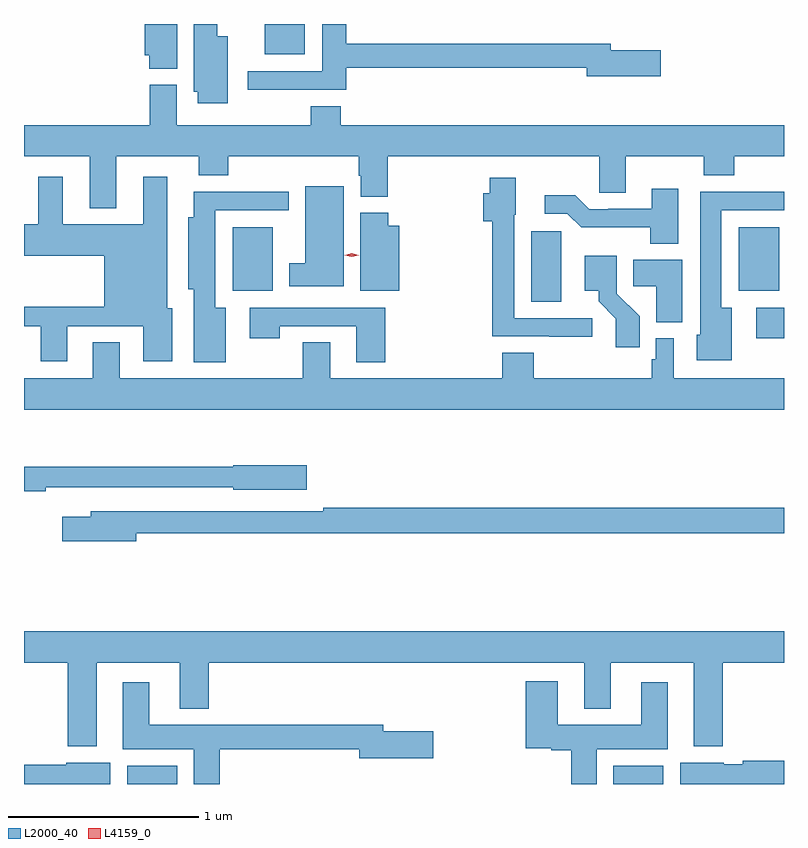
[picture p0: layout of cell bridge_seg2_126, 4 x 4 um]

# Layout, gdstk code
import gdstk
lib = gdstk.Library(unit=1e-6, precision=1e-09)
def R(c, l, rs):  # rectangles x0, y0, x1, y1
    for r in rs: c.add(gdstk.rectangle(r[:2], r[2:], *l))
def P(c, l, *ps):  # polygons
    for p in ps: c.add(gdstk.Polygon(p, *l))
L2000_40 = (2000, 40)
L4159_0 = (4159, 0)

bridge_seg2_126 = lib.new_cell('bridge_seg2_126')
R(bridge_seg2_126, L2000_40, [(408.989,625.685,409.252,625.78), (411.548,625.685,411.811,625.78), (412.299,628.032,412.446,628.191), (411.116,628.222,411.274,628.593), (409.544,628.28,409.756,628.615), (412.208,628.28,412.42,628.615), (409.712,629.525,409.924,629.685)])
P(bridge_seg2_126, L2000_40, [(409.519,629.62),(409.462,629.62),(409.462,629.685),(409.34,629.685),(409.34,629.328),(409.361,629.328),(409.361,629.268),(409.519,629.268)],
  [(409.252,629.685),(409.082,629.685),(409.082,629.52),(409.106,629.52),(409.106,629.449),(409.252,629.449)],
  [(410.141,629.454),(411.407,629.454),(411.407,629.411),(411.796,629.411),(411.796,629.546),(411.535,629.546),(411.535,629.582),(410.141,629.582),(410.141,629.685),(410.015,629.685),(410.015,629.436),(409.623,629.436),(409.623,629.339),(410.141,629.339)],
  [(408.931,628.988),(409.367,628.988),(409.367,628.889),(409.52,628.889),(409.52,628.988),(410.207,628.988),(410.207,628.887),(410.219,628.887),(410.219,628.777),(410.36,628.777),(410.36,628.988),(411.474,628.988),(411.474,628.798),(411.613,628.798),(411.613,628.988),(412.024,628.988),(412.024,628.889),(412.184,628.889),(412.184,628.988),(412.446,628.988),(412.446,629.152),(410.114,629.152),(410.114,629.251),(409.954,629.251),(409.954,629.152),(409.249,629.152),(409.249,629.364),(409.109,629.364),(409.109,629.152),(408.446,629.152),(408.446,628.988),(408.791,628.988),(408.791,628.715),(408.931,628.715)],
  [(408.673,628.095),(409.073,628.095),(409.073,627.909),(409.225,627.909),(409.225,628.188),(409.201,628.188),(409.201,628.882),(409.073,628.882),(409.073,628.63),(408.649,628.63),(408.649,628.882),(408.521,628.882),(408.521,628.63),(408.446,628.63),(408.446,628.466),(408.869,628.466),(408.869,628.196),(408.446,628.196),(408.446,628.095),(408.533,628.095),(408.533,627.909),(408.673,627.909)],
  [(411.436,628.137),(411.027,628.137),(411.027,628.68),(411.034,628.68),(411.034,628.876),(410.898,628.876),(410.898,628.794),(410.864,628.794),(410.864,628.646),(410.911,628.646),(410.911,628.041),(411.211,628.041),(411.211,628.039),(411.436,628.039)],
  [(410.128,628.831),(409.925,628.831),(409.925,628.426),(409.841,628.426),(409.841,628.304),(410.128,628.304)],
  [(411.889,628.819),(411.749,628.819),(411.749,628.713),(411.52,628.713),(411.52,628.71),(411.42,628.71),(411.347,628.783),(411.186,628.783),(411.186,628.686),(411.306,628.686),(411.379,628.614),(411.742,628.614),(411.742,628.529),(411.889,628.529)],
  [(412.171,628.192),(412.117,628.192),(412.117,628.704),(412.446,628.704),(412.446,628.802),(412.004,628.802),(412.004,628.05),(411.986,628.05),(411.986,627.914),(412.171,627.914)],
  [(409.507,628.192),(409.453,628.192),(409.453,628.704),(409.84,628.704),(409.84,628.802),(409.34,628.802),(409.34,628.669),(409.31,628.669),(409.31,628.289),(409.34,628.289),(409.34,627.906),(409.507,627.906)],
  [(410.422,628.624),(410.363,628.624),(410.363,628.692),(410.216,628.692),(410.216,628.28),(410.422,628.28)],
  [(411.686,628.146),(411.567,628.265),(411.567,628.416),(411.565,628.416),(411.565,628.465),(411.398,628.465),(411.398,628.28),(411.47,628.28),(411.47,628.225),(411.561,628.135),(411.561,627.984),(411.686,627.984)],
  [(411.91,628.444),(411.652,628.444),(411.652,628.306),(411.773,628.306),(411.773,628.115),(411.91,628.115)],
  [(410.348,628.191),(409.635,628.191),(409.635,628.032),(409.791,628.032),(409.791,628.095),(410.195,628.095),(410.195,627.906),(410.348,627.906)],
  [(412.446,627.82),(411.867,627.82),(411.867,628.03),(411.771,628.03),(411.771,627.921),(411.751,627.921),(411.751,627.82),(411.128,627.82),(411.128,627.956),(410.963,627.956),(410.963,627.82),(410.059,627.82),(410.059,628.01),(409.912,628.01),(409.912,627.82),(408.949,627.82),(408.949,628.01),(408.809,628.01),(408.809,627.82),(408.446,627.82),(408.446,627.656),(412.446,627.656)],
  [(408.56,627.246),(409.548,627.246),(409.548,627.233),(409.933,627.233),(409.933,627.363),(409.548,627.363),(409.548,627.355),(408.446,627.355),(408.446,627.226),(408.56,627.226)],
  [(409.036,627.004),(412.446,627.004),(412.446,627.14),(410.02,627.14),(410.02,627.12),(408.797,627.12),(408.797,627.091),(408.648,627.091),(408.648,626.962),(409.036,626.962)],
  [(408.829,626.324),(409.265,626.324),(409.265,626.081),(409.418,626.081),(409.418,626.324),(411.395,626.324),(411.395,626.081),(411.535,626.081),(411.535,626.324),(411.971,626.324),(411.971,625.883),(412.124,625.883),(412.124,626.324),(412.446,626.324),(412.446,626.488),(408.446,626.488),(408.446,626.324),(408.677,626.324),(408.677,625.883),(408.829,625.883)],
  [(411.46,625.868),(411.835,625.868),(411.835,626.221),(411.695,626.221),(411.695,625.996),(411.256,625.996),(411.256,626.227),(411.086,626.227),(411.086,625.874),(411.222,625.874),(411.222,625.862),(411.326,625.862),(411.326,625.685),(411.46,625.685)],
  [(409.475,625.867),(410.21,625.867),(410.21,625.82),(410.599,625.82),(410.599,625.962),(410.338,625.962),(410.338,625.996),(409.105,625.996),(409.105,626.221),(408.965,626.221),(408.965,625.868),(409.34,625.868),(409.34,625.685),(409.475,625.685)],
  [(412.446,625.808),(412.228,625.808),(412.228,625.788),(412.128,625.788),(412.128,625.798),(411.899,625.798),(411.899,625.685),(412.446,625.685)],
  [(408.901,625.798),(408.668,625.798),(408.668,625.787),(408.446,625.787),(408.446,625.685),(408.901,625.685)])
P(bridge_seg2_126, L4159_0, [(410.171,628.459),(410.133,628.468),(410.133,628.469),(410.133,628.469),(410.171,628.479),(410.209,628.469),(410.209,628.468),(410.209,628.468)])

lib.write_gds('bridge_seg2_126.gds')
